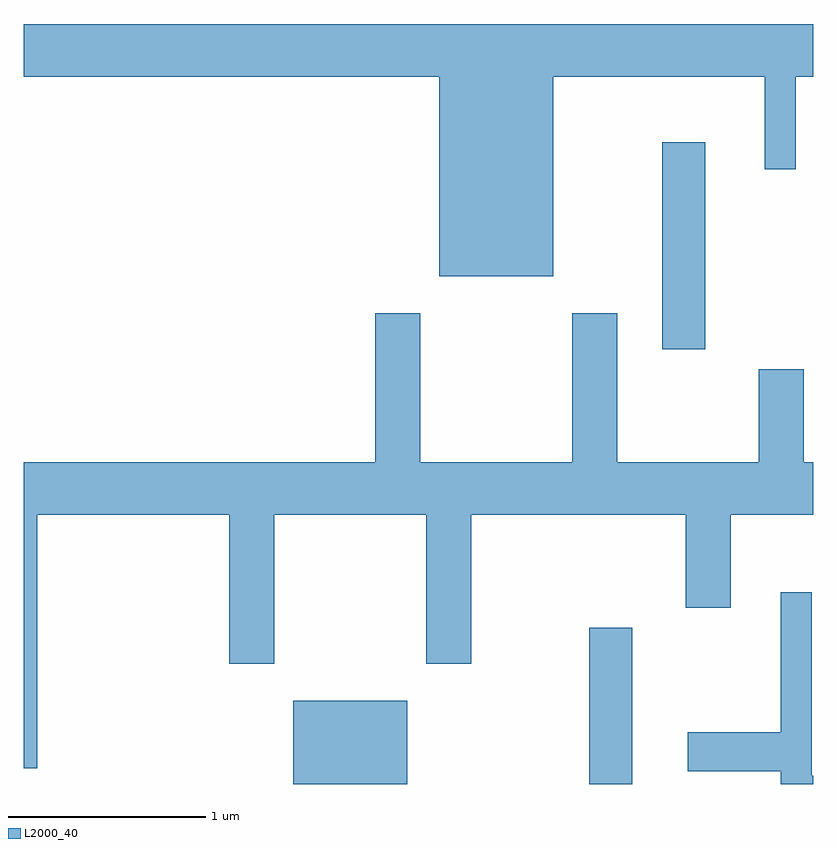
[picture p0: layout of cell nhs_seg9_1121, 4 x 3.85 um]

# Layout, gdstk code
import gdstk
lib = gdstk.Library(unit=1e-6, precision=1e-09)
def R(c, l, rs):  # rectangles x0, y0, x1, y1
    for r in rs: c.add(gdstk.rectangle(r[:2], r[2:], *l))
def P(c, l, *ps):  # polygons
    for p in ps: c.add(gdstk.Polygon(p, *l))
L2000_40 = (2000, 40)

nhs_seg9_1121 = lib.new_cell('nhs_seg9_1121')
R(nhs_seg9_1121, L2000_40, [(218.976,2010.432,219.554,2010.854), (220.476,2010.432,220.694,2011.224), (220.846,2012.636,221.064,2013.684)])
P(nhs_seg9_1121, L2000_40, [(220.294,2014.016),(221.366,2014.016),(221.366,2013.548),(221.524,2013.548),(221.524,2014.016),(221.611,2014.016),(221.611,2014.284),(217.611,2014.284),(217.611,2014.016),(219.716,2014.016),(219.716,2013.006),(220.294,2013.006)],
  [(217.679,2011.796),(218.651,2011.796),(218.651,2011.041),(218.879,2011.041),(218.879,2011.796),(219.651,2011.796),(219.651,2011.041),(219.879,2011.041),(219.879,2011.796),(220.966,2011.796),(220.966,2011.326),(221.194,2011.326),(221.194,2011.796),(221.611,2011.796),(221.611,2012.064),(221.564,2012.064),(221.564,2012.534),(221.336,2012.534),(221.336,2012.064),(220.619,2012.064),(220.619,2012.819),(220.391,2012.819),(220.391,2012.064),(219.619,2012.064),(219.619,2012.819),(219.391,2012.819),(219.391,2012.064),(217.611,2012.064),(217.611,2010.511),(217.679,2010.511)],
  [(221.611,2010.474),(221.604,2010.474),(221.604,2011.403),(221.446,2011.403),(221.446,2010.694),(220.976,2010.694),(220.976,2010.496),(221.446,2010.496),(221.446,2010.432),(221.611,2010.432)])

lib.write_gds('nhs_seg9_1121.gds')
